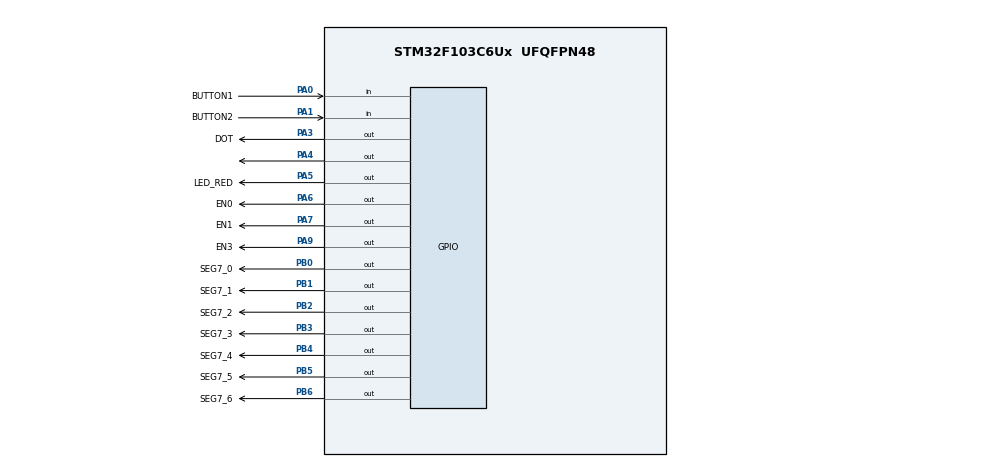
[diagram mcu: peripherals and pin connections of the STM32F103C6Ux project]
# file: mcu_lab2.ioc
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Mcu.Family=STM32F1
Mcu.Name=STM32F103C6Ux
Mcu.Package=UFQFPN48
NVIC.PriorityGroup=NVIC_PRIORITYGROUP_4
NVIC.TIM2_IRQn=true\:0\:0\:false\:false\:true\:true\:true
PA0-WKUP.GPIO_Label=BUTTON1
PA0-WKUP.GPIO_PuPd=GPIO_PULLUP
PA0-WKUP.Signal=GPIO_Input
PA1.GPIO_Label=BUTTON2
PA1.GPIO_PuPd=GPIO_PULLUP
PA1.Signal=GPIO_Input
PA3.GPIO_Label=DOT
PA3.Signal=GPIO_Output
PA4.Signal=GPIO_Output
PA5.GPIO_Label=LED_RED
PA5.Signal=GPIO_Output
PA6.GPIO_Label=EN0
PA6.Signal=GPIO_Output
PA7.GPIO_Label=EN1
PA7.Signal=GPIO_Output
PA9.GPIO_Label=EN3
PA9.Signal=GPIO_Output
PB0.GPIO_Label=SEG7_0
PB0.Signal=GPIO_Output
PB1.GPIO_Label=SEG7_1
PB1.Signal=GPIO_Output
PB2.GPIO_Label=SEG7_2
PB2.Signal=GPIO_Output
PB3.GPIO_Label=SEG7_3
PB3.Signal=GPIO_Output
PB4.GPIO_Label=SEG7_4
PB4.Signal=GPIO_Output
PB5.GPIO_Label=SEG7_5
PB5.Signal=GPIO_Output
PB6.GPIO_Label=SEG7_6
PB6.Signal=GPIO_Output
ProjectManager.HeapSize=0x200
ProjectManager.StackSize=0x400
ProjectManager.TargetToolchain=STM32CubeIDE
RCC.APB1Freq_Value=8000000
RCC.APB2Freq_Value=8000000
TIM2.Period=9
TIM2.Prescaler=7999
VP_SYS_VS_ND.Mode=No_Debug
VP_TIM2_VS_ClockSourceINT.Mode=Internal
board=custom

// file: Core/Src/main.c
/* USER CODE BEGIN Header */
/**
  ******************************************************************************
  * @file           : main.c
  * @brief          : Main program body
  ******************************************************************************
  * @attention
  *
  * <h2><center>&copy; Copyright (c) 2022 STMicroelectronics.
  * All rights reserved.</center></h2>
  *
  * This software component is licensed by ST under BSD 3-Clause license,
  * the "License"; You may not use this file except in compliance with the
  * License. You may obtain a copy of the License at:
  *                        opensource.org/licenses/BSD-3-Clause
  *
  ******************************************************************************
  */
/* USER CODE END Header */
#include "main.h"

/* USER CODE BEGIN Includes */
#include "software_timer.h"
#include "global.h"
#include "fsm_automatic.h"
#include "button.h"
#include "fsm_manual.h"
/* USER CODE END Includes */

TIM_HandleTypeDef htim2;

void SystemClock_Config(void);
static void MX_GPIO_Init(void);
static void MX_TIM2_Init(void);

int main(void)
{

  /* MCU Configuration--------------------------------------------------------*/

  /* Reset of all peripherals, Initializes the Flash interface and the Systick. */
  HAL_Init();

  /* Configure the system clock */
  SystemClock_Config();

  /* Initialize all configured peripherals */
  MX_GPIO_Init();
  MX_TIM2_Init();
  /* USER CODE BEGIN 2 */
  HAL_TIM_Base_Start_IT(&htim2);
  /* USER CODE END 2 */

  /* Infinite loop */
  /* USER CODE BEGIN WHILE */
  setTimer1(100);
  while (1)
  {
	fsm_automatic_run();
	fsm_manual_run();
    /* USER CODE END WHILE */

  }
}

void SystemClock_Config(void)
{
  RCC_OscInitTypeDef RCC_OscInitStruct = {0};
  RCC_ClkInitTypeDef RCC_ClkInitStruct = {0};

  /** Initializes the RCC Oscillators according to the specified parameters
  * in the RCC_OscInitTypeDef structure.
  */
  RCC_OscInitStruct.OscillatorType = RCC_OSCILLATORTYPE_HSI;
  RCC_OscInitStruct.HSIState = RCC_HSI_ON;
  RCC_OscInitStruct.HSICalibrationValue = RCC_HSICALIBRATION_DEFAULT;
  RCC_OscInitStruct.PLL.PLLState = RCC_PLL_NONE;
  if (HAL_RCC_OscConfig(&RCC_OscInitStruct) != HAL_OK)
  {
    Error_Handler();
  }
  /** Initializes the CPU, AHB and APB buses clocks
  */
  RCC_ClkInitStruct.ClockType = RCC_CLOCKTYPE_HCLK|RCC_CLOCKTYPE_SYSCLK
                              |RCC_CLOCKTYPE_PCLK1|RCC_CLOCKTYPE_PCLK2;
  RCC_ClkInitStruct.SYSCLKSource = RCC_SYSCLKSOURCE_HSI;
  RCC_ClkInitStruct.AHBCLKDivider = RCC_SYSCLK_DIV1;
  RCC_ClkInitStruct.APB1CLKDivider = RCC_HCLK_DIV1;
  RCC_ClkInitStruct.APB2CLKDivider = RCC_HCLK_DIV1;

  if (HAL_RCC_ClockConfig(&RCC_ClkInitStruct, FLASH_LATENCY_0) != HAL_OK)
  {
    Error_Handler();
  }
}

static void MX_TIM2_Init(void)
{

  TIM_ClockConfigTypeDef sClockSourceConfig = {0};
  TIM_MasterConfigTypeDef sMasterConfig = {0};

  htim2.Instance = TIM2;
  htim2.Init.Prescaler = 7999;
  htim2.Init.CounterMode = TIM_COUNTERMODE_UP;
  htim2.Init.Period = 9;
  htim2.Init.ClockDivision = TIM_CLOCKDIVISION_DIV1;
  htim2.Init.AutoReloadPreload = TIM_AUTORELOAD_PRELOAD_DISABLE;
  if (HAL_TIM_Base_Init(&htim2) != HAL_OK)
  {
    Error_Handler();
  }
  sClockSourceConfig.ClockSource = TIM_CLOCKSOURCE_INTERNAL;
  if (HAL_TIM_ConfigClockSource(&htim2, &sClockSourceConfig) != HAL_OK)
  {
    Error_Handler();
  }
  sMasterConfig.MasterOutputTrigger = TIM_TRGO_RESET;
  sMasterConfig.MasterSlaveMode = TIM_MASTERSLAVEMODE_DISABLE;
  if (HAL_TIMEx_MasterConfigSynchronization(&htim2, &sMasterConfig) != HAL_OK)
  {
    Error_Handler();
  }

}

static void MX_GPIO_Init(void)
{
  GPIO_InitTypeDef GPIO_InitStruct = {0};

  /* GPIO Ports Clock Enable */
  __HAL_RCC_GPIOA_CLK_ENABLE();
  __HAL_RCC_GPIOB_CLK_ENABLE();

  /*Configure GPIO pin Output Level */
  HAL_GPIO_WritePin(GPIOA, DOT_Pin|GPIO_PIN_4|LED_RED_Pin|EN0_Pin
                          |EN1_Pin|EN3_Pin, GPIO_PIN_RESET);

  /*Configure GPIO pin Output Level */
  HAL_GPIO_WritePin(GPIOB, SEG7_0_Pin|SEG7_1_Pin|SEG7_2_Pin|SEG7_3_Pin
                          |SEG7_4_Pin|SEG7_5_Pin|SEG7_6_Pin, GPIO_PIN_RESET);

  /*Configure GPIO pins : BUTTON1_Pin BUTTON2_Pin */
  GPIO_InitStruct.Pin = BUTTON1_Pin|BUTTON2_Pin;
  GPIO_InitStruct.Mode = GPIO_MODE_INPUT;
  GPIO_InitStruct.Pull = GPIO_PULLUP;
  HAL_GPIO_Init(GPIOA, &GPIO_InitStruct);

  /*Configure GPIO pins : DOT_Pin PA4 LED_RED_Pin EN0_Pin
                           EN1_Pin EN3_Pin */
  GPIO_InitStruct.Pin = DOT_Pin|GPIO_PIN_4|LED_RED_Pin|EN0_Pin
                          |EN1_Pin|EN3_Pin;
  GPIO_InitStruct.Mode = GPIO_MODE_OUTPUT_PP;
  GPIO_InitStruct.Pull = GPIO_NOPULL;
  GPIO_InitStruct.Speed = GPIO_SPEED_FREQ_LOW;
  HAL_GPIO_Init(GPIOA, &GPIO_InitStruct);

  /*Configure GPIO pins : SEG7_0_Pin SEG7_1_Pin SEG7_2_Pin SEG7_3_Pin
                           SEG7_4_Pin SEG7_5_Pin SEG7_6_Pin */
  GPIO_InitStruct.Pin = SEG7_0_Pin|SEG7_1_Pin|SEG7_2_Pin|SEG7_3_Pin
                          |SEG7_4_Pin|SEG7_5_Pin|SEG7_6_Pin;
  GPIO_InitStruct.Mode = GPIO_MODE_OUTPUT_PP;
  GPIO_InitStruct.Pull = GPIO_NOPULL;
  GPIO_InitStruct.Speed = GPIO_SPEED_FREQ_LOW;
  HAL_GPIO_Init(GPIOB, &GPIO_InitStruct);

}

/* USER CODE BEGIN 4 */

int counter = 100;
void HAL_TIM_PeriodElapsedCallback(TIM_HandleTypeDef *htim){
<<<<<<< HEAD
	timerRun();
	getKeyInput();

=======
	if(counter <= 0) counter = 100;
	if(counter >= 50){
		HAL_GPIO_WritePin(GPIOA, EN0_Pin, 0); // turn on the first SEG
		HAL_GPIO_WritePin(GPIOA, EN1_Pin, 1); // turn off the second SEG
		display7SEG(1);
	} else {
		HAL_GPIO_WritePin(GPIOA, EN0_Pin, 1); // turn off the first SEG
		HAL_GPIO_WritePin(GPIOA, EN1_Pin, 0); // turn on the second SEG
		display7SEG(2);
	}
	counter--;
>>>>>>> 2e3109862de114e1c66fb6a1653fc035c3009e46
}
/* USER CODE END 4 */

void Error_Handler(void)
{
  __disable_irq();
  while (1)
  {
  }
}

/************************ (C) COPYRIGHT STMicroelectronics *****END OF FILE****/
